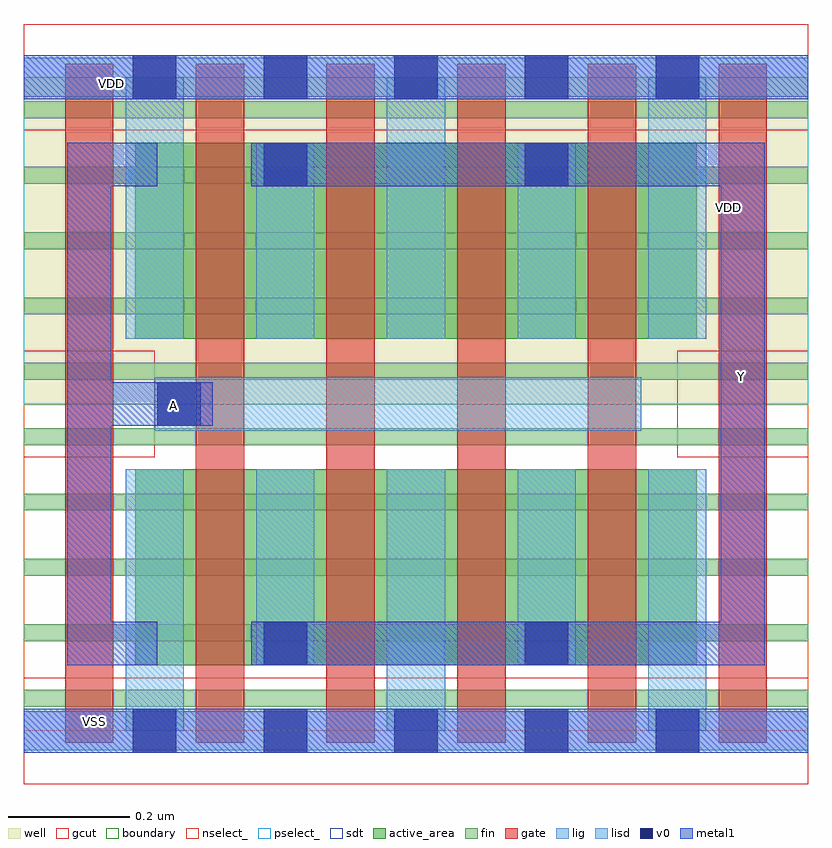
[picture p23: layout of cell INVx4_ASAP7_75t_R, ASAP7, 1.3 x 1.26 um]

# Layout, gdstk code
import gdstk
lib = gdstk.Library(unit=1e-6, precision=2.5e-10)
def R(c, l, rs):  # rectangles x0, y0, x1, y1
    for r in rs: c.add(gdstk.rectangle(r[:2], r[2:], *l))
def A(c, l, x, y, w, h, nx, ny, dx, dy):  # array of equal rectangles
    R(c, l, [(x+i*dx, y+j*dy, x+i*dx+w, y+j*dy+h) for i in range(nx) for j in range(ny)])
def P(c, l, *ps):  # polygons
    for p in ps: c.add(gdstk.Polygon(p, *l))
well = (1, 0)
fin = (2, 0)
gate = (7, 0)
gcut = (10, 0)
active_area = (11, 0)
nselect_ = (12, 0)
pselect_ = (13, 0)
lig = (16, 0)
lisd = (17, 0)
v0 = (18, 0)
metal1 = (19, 0)
sdt = (88, 0)
boundary = (100, 0)

invx4_asap7_75t_r = lib.new_cell('INVx4_ASAP7_75t_R')
R(invx4_asap7_75t_r, well, [(0,0.54,1.296,1.08)])
A(invx4_asap7_75t_r, fin, 0, 0.04, 1.296, 0.028, 1, 10, 0, 0.108)
A(invx4_asap7_75t_r, gate, 0.068, -0.02, 0.08, 1.122, 6, 1, 0.216, 0)
R(invx4_asap7_75t_r, gcut, [(0,-0.088,1.296,0.088), (0,0.452,0.216,0.628), (1.08,0.452,1.296,0.628), (0,0.992,1.296,1.168)])
R(invx4_asap7_75t_r, active_area, [(0.184,0.108,1.112,0.432), (0.184,0.648,1.112,0.972)])
R(invx4_asap7_75t_r, nselect_, [(0,0,1.296,0.54)])
R(invx4_asap7_75t_r, pselect_, [(0,0.54,1.296,1.08)])
R(invx4_asap7_75t_r, lig, [(0,-0.032,1.296,0.032), (0.216,0.496,1.02,0.584), (0,1.048,1.296,1.112)])
A(invx4_asap7_75t_r, lisd, 0.168, 0, 0.096, 0.432, 3, 2, 0.432, 0.648)
R(invx4_asap7_75t_r, lisd, [(0.384,0.108,0.48,0.432), (0.816,0.108,0.912,0.432), (0.384,0.648,0.48,0.972), (0.816,0.648,0.912,0.972)])
A(invx4_asap7_75t_r, v0, 0.18, -0.036, 0.072, 0.072, 5, 2, 0.216, 1.08)
R(invx4_asap7_75t_r, v0, [(0.396,0.108,0.468,0.18), (0.828,0.108,0.9,0.18), (0.22,0.504,0.292,0.576), (0.396,0.9,0.468,0.972), (0.828,0.9,0.9,0.972)])
R(invx4_asap7_75t_r, metal1, [(0,-0.036,1.296,0.036), (0,1.044,1.296,1.116)])
P(invx4_asap7_75t_r, metal1, [(0.072,0.108),(0.072,0.972),(0.22,0.972),(0.22,0.9),(0.144,0.9),(0.144,0.576),(0.312,0.576),(0.312,0.504),(0.144,0.504),(0.144,0.18),(0.22,0.18),(0.22,0.108)],
  [(0.376,0.108),(0.376,0.18),(1.152,0.18),(1.152,0.9),(0.376,0.9),(0.376,0.972),(1.224,0.972),(1.224,0.108)])
A(invx4_asap7_75t_r, sdt, 0.168, 0.108, 0.096, 0.324, 5, 2, 0.216, 0.54)
R(invx4_asap7_75t_r, boundary, [(0,0,1.296,1.08)])
invx4_asap7_75t_r.add(gdstk.Label('VSS', (0.116,0.016), layer=19, texttype=251))
invx4_asap7_75t_r.add(gdstk.Label('VDD', (0.144,1.07), layer=19, texttype=251))
invx4_asap7_75t_r.add(gdstk.Label('A', (0.248,0.538), layer=19, texttype=251))
invx4_asap7_75t_r.add(gdstk.Label('Y', (1.186,0.586), layer=19, texttype=251))
invx4_asap7_75t_r.add(gdstk.Label('VDD', (1.164,0.864), layer=1, texttype=251))
invx4_asap7_75t_r.add(gdstk.Label('VSS', (1.44,0.86), layer=3, texttype=251))

lib.write_gds('INVx4_ASAP7_75t_R.gds')
